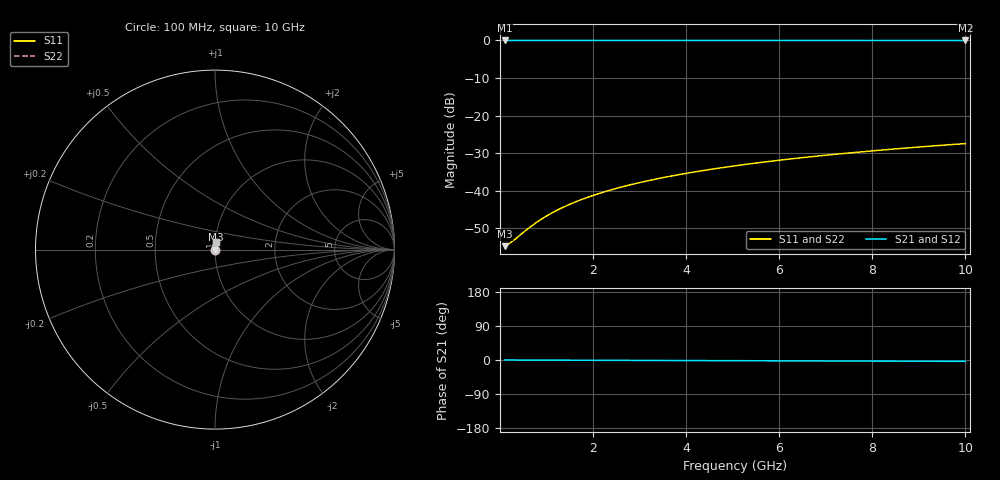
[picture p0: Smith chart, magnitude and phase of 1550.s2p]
# Hz S RI R 50.00
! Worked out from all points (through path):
!   100 points, 100 MHz to 10 GHz, reference 50 ohm
!   highest |S21| = -0.02 dB at 100 MHz (marker M1); lowest = 0.0 dB at 10 GHz (marker M2)
!   lowest |S11| = -54.7 dB at 100 MHz (marker M3), VSWR 1.00, Z = 50.2 + j0.0424 ohm
!   |S11| at or under -10 dB: start of sweep to end of sweep
!   |S22| runs from -54.7 to -27.4 dB; largest |S21 - S12| = 0
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1e8  0.00179 0.000423  0.9982 -0.000635  0.9982 -0.000635  0.00179 0.000423
2e8  0.0018 0.000846  0.9982 -0.00127  0.9982 -0.00127  0.0018 0.000846
3e8  0.00181 0.00127  0.9982 -0.00191  0.9982 -0.00191  0.00181 0.00127
5e8  0.00183 0.00211  0.9982 -0.00318  0.9982 -0.00318  0.00183 0.00211
7e8  0.00185 0.00296  0.9982 -0.00445  0.9982 -0.00445  0.00185 0.00296
8e8  0.00185 0.00338  0.9981 -0.00508  0.9981 -0.00508  0.00185 0.00338
1e9  0.00187 0.00423  0.9981 -0.00635  0.9981 -0.00635  0.00187 0.00423
1.2e9  0.00189 0.00507  0.9981 -0.00762  0.9981 -0.00762  0.00189 0.00507
1.4e9  0.00191 0.00592  0.9981 -0.00889  0.9981 -0.00889  0.00191 0.00592
1.6e9  0.00193 0.00677  0.9981 -0.0102  0.9981 -0.0102  0.00193 0.00677
1.8e9  0.00196 0.00761  0.998 -0.0114  0.998 -0.0114  0.00196 0.00761
2.1e9  0.00199 0.00888  0.998 -0.0133  0.998 -0.0133  0.00199 0.00888
2.5e9  0.00205 0.0106  0.9979 -0.0159  0.9979 -0.0159  0.00205 0.0106
2.9e9  0.00212 0.0123  0.9979 -0.0184  0.9979 -0.0184  0.00212 0.0123
3.4e9  0.00221 0.0144  0.9978 -0.0216  0.9978 -0.0216  0.00221 0.0144
4.2e9  0.00239 0.0178  0.9976 -0.0267  0.9976 -0.0267  0.00239 0.0178
5.1e9  0.00263 0.0216  0.9973 -0.0324  0.9973 -0.0324  0.00263 0.0216
5.9e9  0.00288 0.0249  0.997 -0.0375  0.997 -0.0375  0.00288 0.0249
6.7e9  0.00316 0.0283  0.9967 -0.0426  0.9967 -0.0426  0.00316 0.0283
7.5e9  0.00348 0.0317  0.9964 -0.0476  0.9964 -0.0476  0.00348 0.0317
8.4e9  0.00388 0.0355  0.9959 -0.0534  0.9959 -0.0534  0.00388 0.0355
1e10  0.00469 0.0422  0.9951 -0.0635  0.9951 -0.0635  0.00469 0.0422
